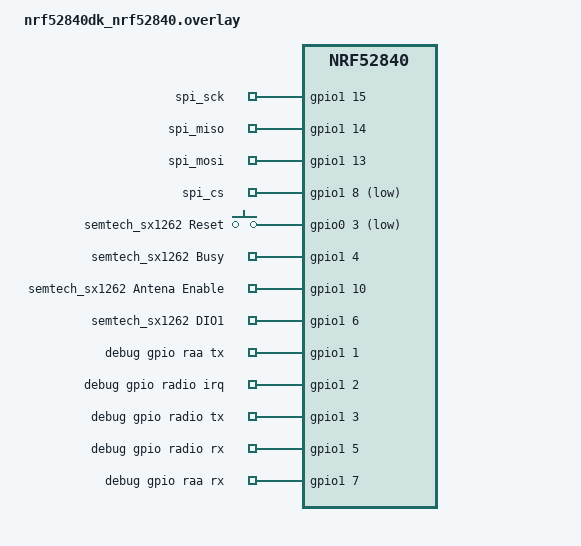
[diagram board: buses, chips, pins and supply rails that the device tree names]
/*
 * Copyright (c) 2023 Nordic Semiconductor ASA
 *
 * SPDX-License-Identifier: LicenseRef-Nordic-5-Clause
 */

&spi3 {
	status = "disabled";
};

&spi2 {
	status = "disabled";
};

/{
	nrfx_spi_gpios{
		compatible = "gpio-keys";
		nrfx_spi_sck: sck {
			gpios = <&gpio1 15 GPIO_ACTIVE_HIGH>;
			label = "spi_sck";
		};
		nrfx_spi_miso: miso {
			gpios = <&gpio1 14 GPIO_ACTIVE_HIGH>;
			label = "spi_miso";
		};
		nrfx_spi_mosi: mosi {
			gpios = <&gpio1 13 GPIO_ACTIVE_HIGH>;
			label = "spi_mosi";
		};
		nrfx_spi_cs: cs {
			gpios = <&gpio1 8 GPIO_ACTIVE_LOW>;
			label = "spi_cs";
		};
	};

	aliases {
		state-notifier-connected = &led0;
		state-notifier-time-sync = &led1;
		state-notifier-registered = &led2;
		state-notifier-working = &led3;
	};

	semtech_sx1262_gpios{
		compatible = "gpio-keys";
		semtech_sx1262_reset_gpios: reset {
			gpios = <&gpio0 3 (GPIO_ACTIVE_LOW|GPIO_PULL_UP)>;
			label = "semtech_sx1262 Reset";
		};
		semtech_sx1262_busy_gpios: busy {
			gpios = <&gpio1 4 GPIO_ACTIVE_HIGH>;
			label = "semtech_sx1262 Busy";
		};
		semtech_sx1262_antenna_enable_gpios: antena_enable {
			gpios = <&gpio1 10 GPIO_ACTIVE_HIGH>;
			label = "semtech_sx1262 Antena Enable";
		};
		semtech_sx1262_dio1_gpios: dio1 {
			gpios = <&gpio1 6 (GPIO_ACTIVE_HIGH|GPIO_PULL_DOWN)>;
			label = "semtech_sx1262 DIO1";
		};
	};

	debug_gpios{
		compatible = "gpio-keys";
		debug_gpio_raa_tx: raa_tx {
			gpios = <&gpio1 1 GPIO_ACTIVE_HIGH>;
			label = "debug gpio raa tx";
		};
		debug_gpio_radio_irq: radio_irq {
			gpios = <&gpio1 2 GPIO_ACTIVE_HIGH>;
			label = "debug gpio radio irq";
		};
		debug_gpio_radio_tx: radio_tx {
			gpios = <&gpio1 3 GPIO_ACTIVE_HIGH>;
			label = "debug gpio radio tx";
		};
		debug_gpio_radio_rx: radio_rx {
			gpios = <&gpio1 5 GPIO_ACTIVE_HIGH>;
			label = "debug gpio radio rx";
		};
		debug_gpio_raa_rx: raa_rx {
			gpios = <&gpio1 7 GPIO_ACTIVE_HIGH>;
			label = "debug gpio raa rx";
		};

	};

	chosen {
		nordic,pm-ext-flash = &mx25r64;
	};
};
